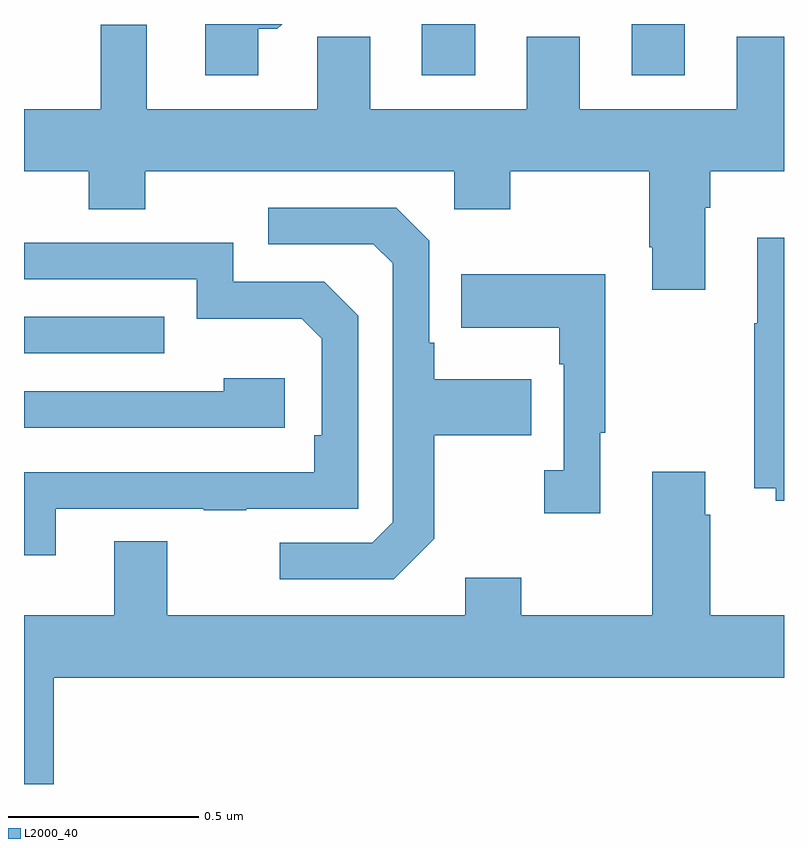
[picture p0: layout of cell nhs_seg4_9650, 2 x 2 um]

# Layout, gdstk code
import gdstk
lib = gdstk.Library(unit=1e-6, precision=1e-09)
def R(c, l, rs):  # rectangles x0, y0, x1, y1
    for r in rs: c.add(gdstk.rectangle(r[:2], r[2:], *l))
def P(c, l, *ps):  # polygons
    for p in ps: c.add(gdstk.Polygon(p, *l))
L2000_40 = (2000, 40)

nhs_seg4_9650 = lib.new_cell('nhs_seg4_9650')
R(nhs_seg4_9650, L2000_40, [(230,771.033,230.369,771.129), (231.047,771.765,231.187,771.9), (231.599,771.765,231.739,771.9)])
P(nhs_seg4_9650, L2000_40, [(230.617,771.887),(230.666,771.887),(230.679,771.9),(230.477,771.9),(230.477,771.765),(230.617,771.765)],
  [(231.793,771.416),(231.806,771.416),(231.806,771.512),(232,771.512),(232,771.866),(231.875,771.866),(231.875,771.676),(231.463,771.676),(231.463,771.866),(231.323,771.866),(231.323,771.676),(230.911,771.676),(230.911,771.866),(230.772,771.866),(230.772,771.676),(230.323,771.676),(230.323,771.898),(230.202,771.898),(230.202,771.676),(230,771.676),(230,771.512),(230.171,771.512),(230.171,771.413),(230.319,771.413),(230.319,771.512),(231.132,771.512),(231.132,771.413),(231.279,771.413),(231.279,771.512),(231.646,771.512),(231.646,771.313),(231.653,771.313),(231.653,771.201),(231.793,771.201)],
  [(231.079,770.545),(231.079,770.818),(231.335,770.818),(231.335,770.965),(231.079,770.965),(231.079,771.061),(231.066,771.061),(231.066,771.33),(230.979,771.417),(230.643,771.417),(230.643,771.321),(230.919,771.321),(230.97,771.27),(230.97,770.589),(230.916,770.535),(230.673,770.535),(230.673,770.439),(230.973,770.439)],
  [(232,771.337),(231.929,771.337),(231.929,771.113),(231.922,771.113),(231.922,770.678),(231.978,770.678),(231.978,770.646),(232,770.646)],
  [(230.083,770.625),(230.473,770.625),(230.473,770.62),(230.585,770.62),(230.585,770.625),(230.88,770.625),(230.88,771.132),(230.79,771.222),(230.55,771.222),(230.55,771.324),(230,771.324),(230,771.228),(230.454,771.228),(230.454,771.125),(230.731,771.125),(230.784,771.072),(230.784,770.818),(230.764,770.818),(230.764,770.721),(230.089,770.721),(230.089,770.72),(230,770.72),(230,770.502),(230.083,770.502)],
  [(231.517,770.825),(231.529,770.825),(231.529,771.241),(231.151,771.241),(231.151,771.101),(231.408,771.101),(231.408,771.005),(231.42,771.005),(231.42,770.726),(231.369,770.726),(231.369,770.613),(231.517,770.613)],
  [(230.686,770.968),(230.525,770.968),(230.525,770.934),(230,770.934),(230,770.838),(230.686,770.838)],
  [(230.078,770.18),(232,770.18),(232,770.344),(231.806,770.344),(231.806,770.609),(231.793,770.609),(231.793,770.722),(231.653,770.722),(231.653,770.344),(231.309,770.344),(231.309,770.443),(231.161,770.443),(231.161,770.344),(230.377,770.344),(230.377,770.539),(230.237,770.539),(230.237,770.344),(230,770.344),(230,769.9),(230.078,769.9)])

lib.write_gds('nhs_seg4_9650.gds')
